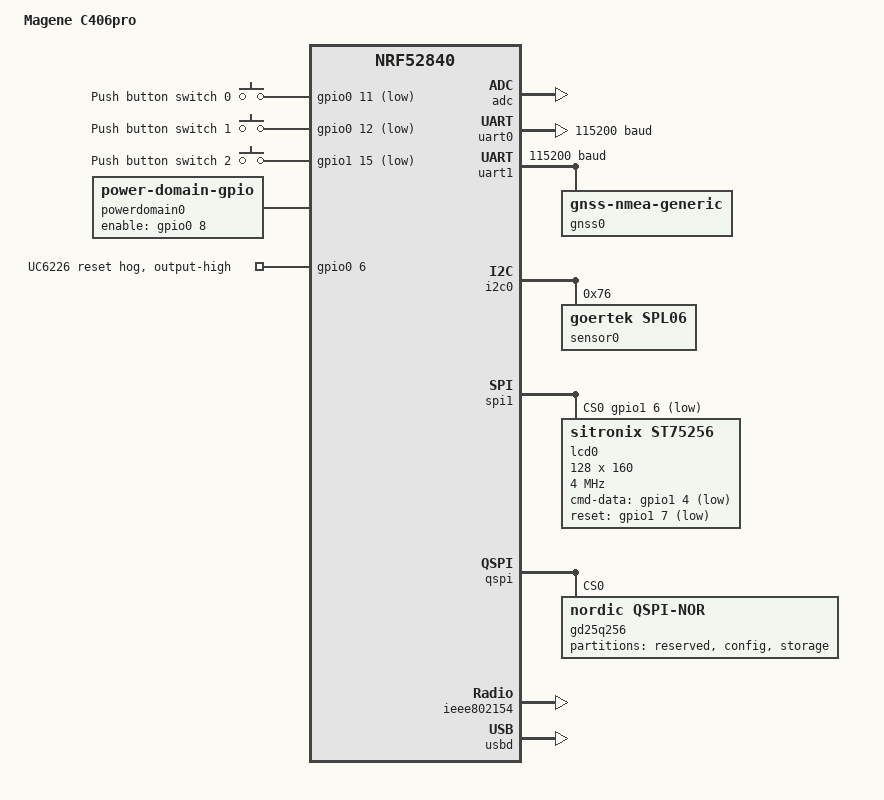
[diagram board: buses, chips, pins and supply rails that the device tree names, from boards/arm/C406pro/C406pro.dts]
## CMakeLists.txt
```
cmake_minimum_required(VERSION 3.20.0)

set(BOARD C406pro)
set(BOARD_ROOT ${CMAKE_CURRENT_SOURCE_DIR})

# Add our custom Zephyr module for drivers, etc.
set(EXTRA_ZEPHYR_MODULES ${CMAKE_CURRENT_SOURCE_DIR}/module)

find_package(Zephyr)
project(C406pro_Hack)

target_include_directories(app PRIVATE
    src
    src/pages
)
target_sources(app PRIVATE
    src/main.c
    src/ble/ble.c
    src/ble/transfer_ble.c
    src/ble/shell_ble.c
    src/pages/pages.cpp
    src/pages/main_page.cpp
    src/pages/info_page.cpp
    src/pages/PageManager.cpp
    src/status_bar.cpp
    src/battery.c
    src/cmd/test_fs.c
    src/cmd/test_flash.c
    src/cmd/gnss.c
    src/button.cpp
    src/button_event.cpp
	src/gnss.c
)
```

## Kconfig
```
mainmenu "Zephyr Kernel Configuration"

source "Kconfig.zephyr"
```

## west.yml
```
manifest:
  remotes:
    - name: zephyrproject-rtos
      url-base: https://github.com/zephyrproject-rtos
  projects:
    - name: zephyr
      remote: zephyrproject-rtos
      revision: v3.7.2
      clone-depth: 1
      import:
        name-blocklist:
          - hal_atmel
          - hal_altera
          - hal_ambiq
          - hal_altera
          - hal_cypress
          - hal_espressif
          - hal_ethos_u
          - hal_gigadevice
          - hal_infineon
          - hal_intel
          - hal_microchip
          - hal_nxp
          - hal_openisa
          - hal_renesas
          - hal_rpi_pico
          - hal_silabs
          - hal_xtensa
          - hal_st
          - hal_ti
          - hal_telink
          - hal_wurthelektronik
          - libmetal
          - loramac-node
          - hal_nuvoton
          - hal_quicklogic
          - hal_stm32
          - trusted-firmware-m
          - trusted-firmware-a
          - picolibc
          - hostap
          - liblc3
          - net-tools
          - mipi-sys-t
  self:
    path: app
```

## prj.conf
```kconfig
# Runtime
CONFIG_CPP=y
CONFIG_MAIN_STACK_SIZE=4096
CONFIG_HEAP_MEM_POOL_SIZE=4096

# Logging and RTT
CONFIG_LOG=y
CONFIG_LOG_BLOCK_IN_THREAD=y
CONFIG_LOG_BUFFER_SIZE=4096
CONFIG_LOG_SPEED=y
CONFIG_LOG_BACKEND_SHOW_COLOR=n
CONFIG_USE_SEGGER_RTT=y
CONFIG_SEGGER_RTT_MODE_BLOCK_IF_FIFO_FULL=y

# Shell
CONFIG_SHELL=y
CONFIG_SHELL_BACKEND_SERIAL=n
CONFIG_SHELL_BACKEND_RTT=n
CONFIG_SHELL_LOG_BACKEND=n
CONFIG_GPIO_SHELL=y
CONFIG_I2C_SHELL=y

# Bluetooth
CONFIG_BT=y
CONFIG_BT_PERIPHERAL=y
CONFIG_BT_DEVICE_NAME="C406Pro_Hack"
CONFIG_BT_MAX_CONN=1
CONFIG_BT_GAP_AUTO_UPDATE_CONN_PARAMS=y
CONFIG_BT_L2CAP_TX_MTU=247
CONFIG_BT_BUF_ACL_RX_SIZE=251
CONFIG_BT_BUF_ACL_TX_SIZE=251
CONFIG_BT_CTLR_DATA_LENGTH_MAX=251
CONFIG_BT_ZEPHYR_NUS=y
CONFIG_BT_SHELL=y

# Storage
CONFIG_FLASH=y
CONFIG_FLASH_MAP=y
CONFIG_FLASH_PAGE_LAYOUT=y
CONFIG_FLASH_SHELL=y
CONFIG_FILE_SYSTEM=y
CONFIG_FILE_SYSTEM_LITTLEFS=y
CONFIG_FILE_SYSTEM_SHELL=y
CONFIG_NORDIC_QSPI_NOR=y
CONFIG_NORDIC_QSPI_NOR_INIT_PRIORITY=80

# Power management
CONFIG_POWEROFF=y
CONFIG_PM_DEVICE=y
# CONFIG_PM_DEVICE_RUNTIME=y
CONFIG_POWER_DOMAIN=y

# Display and UI
CONFIG_ST75256=y
CONFIG_LVGL=y
CONFIG_LV_COLOR_DEPTH_1=y
CONFIG_LV_Z_MEM_POOL_SIZE=8192
CONFIG_LV_USE_MONKEY=y
CONFIG_LV_CONF_MINIMAL=y
CONFIG_LV_USE_LABEL=y
CONFIG_LV_FONT_MONTSERRAT_12=y
CONFIG_LV_FONT_MONTSERRAT_14=y
CONFIG_LV_FONT_MONTSERRAT_16=y
CONFIG_LV_USE_FONT_COMPRESSED=y
CONFIG_LV_USE_CANVAS=y
CONFIG_LV_USE_THEME_MONO=y

# Sensors
CONFIG_ADC=y
CONFIG_SPL06=y

# GNSS
CONFIG_GNSS=y
CONFIG_GNSS_SATELLITES=y
CONFIG_SERIAL=y
CONFIG_UART_INTERRUPT_DRIVEN=y
CONFIG_GPIO_HOGS=y
```

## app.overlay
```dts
//&uart0_default{
//    /delete-node/ group2;
//};

&pinctrl {
	uart0_default: uart0_default {
		/delete-node/ group1;
		/delete-node/ group2;
	};
    uart0_sleep: uart0_sleep {
		/delete-node/ group1;
	};

	i2c1_default: i2c1_default {
		/delete-node/ group1;
	};

	i2c1_sleep: i2c1_sleep {
		/delete-node/ group1;
	};

	pwm0_default: pwm0_default {
		/delete-node/ group1;
	};

	pwm0_sleep: pwm0_sleep {
		/delete-node/ group1;
	};

	spi0_default: spi0_default {
		/delete-node/ group1;
	};

	spi0_sleep: spi0_sleep {
		/delete-node/ group1;
	};

	spi2_default: spi2_default {
		/delete-node/ group1;
	};

	spi2_sleep: spi2_sleep {
		/delete-node/ group1;
	};

	spi3_default: spi3_default {
		/delete-node/ group1;
	};

	spi3_sleep: spi3_sleep {
		/delete-node/ group1;
	};
};

/ {
	zephyr,user {
		io-channels = <&adc 0>;
	};

	fstab {
		compatible = "zephyr,fstab";

		lfs: lfs {
			compatible = "zephyr,fstab,littlefs";
			mount-point = "/lfs";
			partition = <&storage_partition>;
			automount;
			read-size = <16>;
			prog-size = <16>;
			cache-size = <64>;
			lookahead-size = <32>;
			block-cycles = <512>;
		};
	};
};

&adc {
	#address-cells = <1>;
	#size-cells = <0>;

	channel@0 {
		reg = <0>;
		zephyr,gain = "ADC_GAIN_1_3";
		zephyr,reference = "ADC_REF_INTERNAL";
		zephyr,acquisition-time = <ADC_ACQ_TIME_DEFAULT>;
		zephyr,input-positive = <NRF_SAADC_AIN5>; /* P0.29 */
		zephyr,resolution = <14>;
		zephyr,oversampling = <8>;
	};
};
```

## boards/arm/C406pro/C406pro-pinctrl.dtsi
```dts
/*
 * Copyright (c) 2022 Nordic Semiconductor
 * SPDX-License-Identifier: Apache-2.0
 */

&pinctrl {
	uart0_default: uart0_default {
		group1 {
			psels = <NRF_PSEL(UART_TX, 0, 6)>,
				<NRF_PSEL(UART_RTS, 0, 5)>;
		};
		group2 {
			psels = <NRF_PSEL(UART_RX, 0, 8)>,
				<NRF_PSEL(UART_CTS, 0, 7)>;
			bias-pull-up;
		};
	};

	uart0_sleep: uart0_sleep {
		group1 {
			psels = <NRF_PSEL(UART_TX, 0, 6)>,
				<NRF_PSEL(UART_RX, 0, 8)>,
				<NRF_PSEL(UART_RTS, 0, 5)>,
				<NRF_PSEL(UART_CTS, 0, 7)>;
			low-power-enable;
		};
	};

	uart1_default: uart1_default {
		group1 {
			psels = <NRF_PSEL(UART_RX, 1, 13)>;
			bias-pull-up;
		};
		group2 {
			psels = <NRF_PSEL(UART_TX, 1, 11)>;
		};
	};

	uart1_sleep: uart1_sleep {
		group1 {
			psels = <NRF_PSEL(UART_RX, 1, 13)>,
				<NRF_PSEL(UART_TX, 1, 11)>;
			low-power-enable;
		};
	};

	i2c0_default: i2c0_default {
		group1 {
			psels = <NRF_PSEL(TWIM_SDA, 1, 0)>,
				<NRF_PSEL(TWIM_SCL, 0, 25)>;
		};
	};

	i2c0_sleep: i2c0_sleep {
		group1 {
			psels = <NRF_PSEL(TWIM_SDA, 1, 0)>,
				<NRF_PSEL(TWIM_SCL, 0, 25)>;
			low-power-enable;
		};
	};

	i2c1_default: i2c1_default {
		group1 {
			psels = <NRF_PSEL(TWIM_SDA, 0, 30)>,
				<NRF_PSEL(TWIM_SCL, 0, 31)>;
		};
	};

	i2c1_sleep: i2c1_sleep {
		group1 {
			psels = <NRF_PSEL(TWIM_SDA, 0, 30)>,
				<NRF_PSEL(TWIM_SCL, 0, 31)>;
			low-power-enable;
		};
	};

	pwm0_default: pwm0_default {
		group1 {
			psels = <NRF_PSEL(PWM_OUT0, 0, 13)>;
			nordic,invert;
		};
	};

	pwm0_sleep: pwm0_sleep {
		group1 {
			psels = <NRF_PSEL(PWM_OUT0, 0, 13)>;
			low-power-enable;
		};
	};

	spi0_default: spi0_default {
		group1 {
			psels = <NRF_PSEL(SPIM_SCK, 0, 27)>,
				<NRF_PSEL(SPIM_MOSI, 0, 26)>,
				<NRF_PSEL(SPIM_MISO, 0, 29)>;
		};
	};

	spi0_sleep: spi0_sleep {
		group1 {
			psels = <NRF_PSEL(SPIM_SCK, 0, 27)>,
				<NRF_PSEL(SPIM_MOSI, 0, 26)>,
				<NRF_PSEL(SPIM_MISO, 0, 29)>;
			low-power-enable;
		};
	};

	spi1_default: spi1_default {
		group1 {
			psels = <NRF_PSEL(SPIM_SCK, 0, 4)>,
				<NRF_PSEL(SPIM_MOSI, 0, 26)>,
				<NRF_PSEL(SPIM_MISO, 1, 27)>;
		};
	};

	spi1_sleep: spi1_sleep {
		group1 {
			psels = <NRF_PSEL(SPIM_SCK, 0, 31)>,
				<NRF_PSEL(SPIM_MOSI, 0, 30)>,
				<NRF_PSEL(SPIM_MISO, 1, 8)>;
			low-power-enable;
		};
	};

	spi2_default: spi2_default {
		group1 {
			psels = <NRF_PSEL(SPIM_SCK, 0, 19)>,
				<NRF_PSEL(SPIM_MOSI, 0, 20)>,
				<NRF_PSEL(SPIM_MISO, 0, 21)>;
		};
	};

	spi2_sleep: spi2_sleep {
		group1 {
			psels = <NRF_PSEL(SPIM_SCK, 0, 19)>,
				<NRF_PSEL(SPIM_MOSI, 0, 20)>,
				<NRF_PSEL(SPIM_MISO, 0, 21)>;
			low-power-enable;
		};
	};

	qspi_default: qspi_default {
		group1 {
			psels = <NRF_PSEL(QSPI_SCK, 0, 22)>,
				<NRF_PSEL(QSPI_IO0, 0, 24)>,
				<NRF_PSEL(QSPI_IO1, 0, 14)>,
				<NRF_PSEL(QSPI_IO2, 0, 15)>,
				<NRF_PSEL(QSPI_IO3, 0, 20)>,
				<NRF_PSEL(QSPI_CSN, 0, 13)>;
			nordic,drive-mode = <NRF_DRIVE_H0H1>;
		};
	};

	qspi_sleep: qspi_sleep {
		group1 {
			psels = <NRF_PSEL(QSPI_SCK, 0, 22)>,
				<NRF_PSEL(QSPI_IO0, 0, 24)>,
				<NRF_PSEL(QSPI_IO1, 0, 14)>,
				<NRF_PSEL(QSPI_IO2, 0, 15)>,
				<NRF_PSEL(QSPI_IO3, 0, 20)>;
			low-power-enable;
		};
		group2 {
			psels = <NRF_PSEL(QSPI_CSN, 0, 13)>;
			low-power-enable;
			bias-pull-up;
		};
	};

	spi3_default: spi3_default {
		group1 {
			psels = <NRF_PSEL(SPIM_SCK, 1, 15)>,
				<NRF_PSEL(SPIM_MISO, 1, 14)>,
				<NRF_PSEL(SPIM_MOSI, 1, 1)>;
		};
	};

	spi3_sleep: spi3_sleep {
		group1 {
			psels = <NRF_PSEL(SPIM_SCK, 1, 15)>,
				<NRF_PSEL(SPIM_MISO, 1, 14)>,
				<NRF_PSEL(SPIM_MOSI, 1, 1)>;
			low-power-enable;
		};
	};

};
```

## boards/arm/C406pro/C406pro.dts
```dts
/*
 * Copyright (c) 2017 Linaro Limited
 *
 * SPDX-License-Identifier: Apache-2.0
 */

/dts-v1/;
#include <nordic/nrf52840_qiaa.dtsi>
#include "C406pro-pinctrl.dtsi"
#include <zephyr/dt-bindings/input/input-event-codes.h>

/ {
	model = "Magene C406pro";
	compatible = "C406pro";

	chosen {
		zephyr,console = &uart0;
		zephyr,shell-uart = &uart0;
		zephyr,uart-mcumgr = &uart0;
		zephyr,bt-mon-uart = &uart0;
		zephyr,bt-c2h-uart = &uart0;
		zephyr,sram = &sram0;
		zephyr,flash = &flash0;
		zephyr,code-partition = &slot0_partition;
		zephyr,ieee802154 = &ieee802154;
		zephyr,display = &lcd0;
	};

	buttons {
		compatible = "gpio-keys";
		button0: button_0 {
			gpios = <&gpio0 11 (GPIO_PULL_UP | GPIO_ACTIVE_LOW)>;
			label = "Push button switch 0";
			zephyr,code = <INPUT_KEY_0>;
		};
		button1: button_1 {
			gpios = <&gpio0 12 (GPIO_PULL_UP | GPIO_ACTIVE_LOW)>;
			label = "Push button switch 1";
			zephyr,code = <INPUT_KEY_1>;
		};
		button2: button_2 {
			gpios = <&gpio1 15 (GPIO_PULL_UP | GPIO_ACTIVE_LOW)>;
			label = "Push button switch 2";
			zephyr,code = <INPUT_KEY_2>;
		};
	};

	powerdomain0: powerdomain0 {
		compatible = "power-domain-gpio";
		status = "okay";
		enable-gpios = <&gpio0 8 GPIO_ACTIVE_HIGH>;
		startup-delay-us = <10000>;
		off-on-delay-us = <0>;
	};

	/* These aliases are provided for compatibility with samples */
	aliases {
		sw0 = &button0;
		sw1 = &button1;
		sw2 = &button2;
		mcuboot-button0 = &button0;
		watchdog0 = &wdt0;
		spi-flash0 = &gd25q256;
		gnss = &gnss0;
	};
};

&adc {
	status = "okay";
};

&uicr {
	gpio-as-nreset;
};

&gpiote {
	status = "okay";
};

&gpio0 {
	status = "okay";

	gnss-reset-hog {
		gpio-hog;
		gpios = <6 GPIO_ACTIVE_HIGH>;
		output-high;
		line-name = "UC6226 reset";
	};
};

&gpio1 {
	status = "okay";
};

&uart0 {
	compatible = "nordic,nrf-uarte";
	status = "okay";
	current-speed = <115200>;
	pinctrl-0 = <&uart0_default>;
	pinctrl-1 = <&uart0_sleep>;
	pinctrl-names = "default", "sleep";
};

&uart1 {
	compatible = "nordic,nrf-uarte";
	status = "okay";
	current-speed = <115200>;
	pinctrl-0 = <&uart1_default>;
	pinctrl-1 = <&uart1_sleep>;
	pinctrl-names = "default", "sleep";

	gnss0: gnss {
		compatible = "gnss-nmea-generic";
		status = "okay";
		power-domain = <&powerdomain0>;
	};
};

&i2c0 {
	compatible = "nordic,nrf-twi";
	status = "okay";
	pinctrl-0 = <&i2c0_default>;
	pinctrl-1 = <&i2c0_sleep>;
	pinctrl-names = "default", "sleep";

	sensor0:sensor@76 {
		compatible = "goertek,spl06";
		reg = <0x76>;
		status = "okay";
		prs_cfg = [26];
		tmp_cfg = [a2];
		cfg_reg = [04];
		meas_cfg = [07];
		power-domain = <&powerdomain0>;
	};
};


// &i2c1 {
// 	compatible = "nordic,nrf-twi";
// 	/* Cannot be used together with spi1. */
// 	/* status = "okay"; */
// 	pinctrl-0 = <&i2c1_default>;
// 	pinctrl-1 = <&i2c1_sleep>;
// 	pinctrl-names = "default", "sleep";
// };

// &pwm0 {
// 	status = "okay";
// 	pinctrl-0 = <&pwm0_default>;
// 	pinctrl-1 = <&pwm0_sleep>;
// 	pinctrl-names = "default", "sleep";
// };

// &spi0 {
// 	compatible = "nordic,nrf-spi";
// 	/* Cannot be used together with i2c0. */
// 	/* status = "okay"; */
// 	pinctrl-0 = <&spi0_default>;
// 	pinctrl-1 = <&spi0_sleep>;
// 	pinctrl-names = "default", "sleep";
// };

&spi1 {
	compatible = "nordic,nrf-spi";
	status = "okay";
	pinctrl-0 = <&spi1_default>;
	pinctrl-1 = <&spi1_sleep>;
	pinctrl-names = "default", "sleep";
	cs-gpios = <&gpio1 6 GPIO_ACTIVE_LOW>;

	lcd0: lcd@0 {
		compatible = "sitronix,st75256";
		reg = <0>;
		status = "okay";
		spi-max-frequency = <4000000>;
		cmd-data-gpios = <&gpio1 4 GPIO_ACTIVE_LOW>;
		reset-gpios = <&gpio1 7 GPIO_ACTIVE_LOW>;
		width = <128>;
		height = <160>;
		auto_read = [9f];
		analog_circuit = [00 01 00];
		gray_level = [01 03 05 07 09 0b 0d 10 11 13 15 17 19 1b 1d 1f];
		data_scan = [00];
		display_control = [00 9f 20];
		color_mode = [10];
		volume_control = [18 05];
		power_control = [0b];
		row_range = [00 7f];
		col_range = [00 13];
		power-domain = <&powerdomain0>;
	};
};

// &spi2 {
// 	compatible = "nordic,nrf-spi";
// 	status = "disabled";
// 	pinctrl-0 = <&spi2_default>;
// 	pinctrl-1 = <&spi2_sleep>;
// 	pinctrl-names = "default", "sleep";
// };


&qspi {
	status = "okay";
	pinctrl-0 = <&qspi_default>;
	pinctrl-1 = <&qspi_sleep>;
	pinctrl-names = "default", "sleep";
	gd25q256: gd25q256@0 {
		compatible = "nordic,qspi-nor";
		reg = <0>;
		power-domain = <&powerdomain0>;

		jedec-id = [c8 40 19];
		size = <268435456>;

		sck-frequency = <32000000>;

		writeoc = "pp4o";
		readoc = "read4io";

		address-size-32;
		enter-4byte-addr = <0x01>;

		quad-enable-requirements = "S2B1v1";

		// has-dpd;
		// t-enter-dpd = <10000>;
		// t-exit-dpd = <35000>;

		partitions {
			compatible = "fixed-partitions";
			#address-cells = <1>;
			#size-cells = <1>;

			reserved_partition: partition@0 {
				label = "reserved";
				reg = <0x00000000 0x00010000>; /* 64KB */
			};

			config_partition: partition@10000 {
				label = "config";
				reg = <0x00010000 0x000F0000>; /* 960KB */
			};

			storage_partition: partition@100000 {
				label = "storage";
				reg = <0x00100000 0x01F00000>; /* 31MB */
			};
		};
	};
};


&ieee802154 {
	status = "okay";
};

&flash0 {

	partitions {
		compatible = "fixed-partitions";
		#address-cells = <1>;
		#size-cells = <1>;

		boot_partition: partition@0 {
			label = "mcuboot";
			reg = <0x00000000 0x0000C000>;
		};
		slot0_partition: partition@c000 {
			label = "image-0";
			reg = <0x0000C000 0x00076000>;
		};
		slot1_partition: partition@82000 {
			label = "image-1";
			reg = <0x00082000 0x00076000>;
		};

		/*
		 * The flash starting at 0x000f8000 and ending at
		 * 0x000fffff is reserved for use by the application.
		 */

		/*
		 * Storage partition will be used by FCB/LittleFS/NVS
		 * if enabled.
		 */
		internal_storage_partition: partition@f8000 {
			label = "internal_storage";
			reg = <0x000f8000 0x00008000>;
		};
	};
};

zephyr_udc0: &usbd {
	compatible = "nordic,nrf-usbd";
	status = "okay";
};
```

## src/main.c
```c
#include <zephyr/kernel.h>
#include <zephyr/drivers/gpio.h>
#include <zephyr/logging/log.h>
#include <zephyr/drivers/adc.h>
#include <zephyr/devicetree.h>
#include <zephyr/device.h>
#include <zephyr/sys/util.h>
#include <zephyr/drivers/display.h>
#include <zephyr/pm/device.h>
#include <zephyr/sys/poweroff.h>
#include <lvgl.h>
#include <zephyr/drivers/sensor.h>

#include "pages.h"
#include "battery.h"
#include "button.h"
#include "ble/ble.h"
#include "gnss.h"

#include <inttypes.h>
#include <stddef.h>
#include <stdint.h>

LOG_MODULE_REGISTER(main, LOG_LEVEL_INF);

const struct device *gpio_0;
const struct device *gpio_1;
const struct device *display_dev;
const struct device *ext_power;
const struct device *pressure_dev;


int main()
{
	LOG_INF("GPIO TEST!!!!!!!");

    gpio_0 = device_get_binding("gpio@50000000");
	gpio_1 = device_get_binding("gpio@50000300");
	ext_power = DEVICE_DT_GET(DT_NODELABEL(powerdomain0));
	display_dev = DEVICE_DT_GET(DT_CHOSEN(zephyr_display));
	pressure_dev = DEVICE_DT_GET(DT_NODELABEL(sensor0));
	
	gpio_pin_configure(gpio_0, 29, GPIO_INPUT);
	gpio_pin_configure(gpio_0, 31, GPIO_INPUT);
	gpio_pin_configure(gpio_1, 10, GPIO_OUTPUT_INACTIVE);
	gpio_pin_configure(gpio_0, 9, GPIO_OUTPUT_INACTIVE);

	battery_sensor_init();
	ButtonEvent_Init();
	ui_init();
	ble_start();
	k_msleep(200);
	gnss_init();
	

	while (1) {
		k_msleep(100);
	}

	return 0;
}
```

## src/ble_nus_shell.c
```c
#include <errno.h>
#include <stddef.h>
#include <stdint.h>
#include <string.h>

#include <zephyr/bluetooth/bluetooth.h>
#include <zephyr/bluetooth/conn.h>
#include <zephyr/bluetooth/gatt.h>
#include <zephyr/init.h>
#include <zephyr/kernel.h>
#include <zephyr/logging/log.h>
#include <zephyr/shell/shell.h>
#include <zephyr/sys/ring_buffer.h>
#include <zephyr/sys/util.h>

LOG_MODULE_REGISTER(ble_nus_shell, LOG_LEVEL_INF);

#define BLE_NUS_SHELL_PROMPT "c406pro> "
#define BLE_NUS_SHELL_RX_RING_BUFFER_SIZE 256
#define BLE_NUS_SHELL_LOG_QUEUE_SIZE 512
#define BLE_NUS_SHELL_LOG_QUEUE_TIMEOUT 100

#define BT_UUID_NUS_VAL \
	BT_UUID_128_ENCODE(0x6e400001, 0xb5a3, 0xf393, 0xe0a9, 0xe50e24dcca9e)
#define BT_UUID_NUS_RX_VAL \
	BT_UUID_128_ENCODE(0x6e400002, 0xb5a3, 0xf393, 0xe0a9, 0xe50e24dcca9e)
#define BT_UUID_NUS_TX_VAL \
	BT_UUID_128_ENCODE(0x6e400003, 0xb5a3, 0xf393, 0xe0a9, 0xe50e24dcca9e)

static struct bt_uuid_128 nus_uuid = BT_UUID_INIT_128(BT_UUID_NUS_VAL);
static struct bt_uuid_128 nus_rx_uuid = BT_UUID_INIT_128(BT_UUID_NUS_RX_VAL);
static struct bt_uuid_128 nus_tx_uuid = BT_UUID_INIT_128(BT_UUID_NUS_TX_VAL);

struct bt_nus_shell_transport {
	shell_transport_handler_t handler;
	void *context;
	struct ring_buf rx_ringbuf;
	uint8_t rx_buf[BLE_NUS_SHELL_RX_RING_BUFFER_SIZE];
	struct k_mutex tx_lock;
	bool initialized;
	bool blocking_tx;
};

static struct bt_conn *active_conn;
static bool notify_enabled;
static struct bt_nus_shell_transport transport_ctx;
static const uint8_t ad_flags[] = {
	BT_LE_AD_GENERAL | BT_LE_AD_NO_BREDR,
};

static ssize_t nus_rx_write(struct bt_conn *conn, const struct bt_gatt_attr *attr,
			    const void *buf, uint16_t len, uint16_t offset,
			    uint8_t flags);
static void nus_tx_ccc_changed(const struct bt_gatt_attr *attr, uint16_t value);

BT_GATT_SERVICE_DEFINE(nus_svc,
	BT_GATT_PRIMARY_SERVICE(&nus_uuid),
	BT_GATT_CHARACTERISTIC(&nus_rx_uuid.uuid,
			       BT_GATT_CHRC_WRITE | BT_GATT_CHRC_WRITE_WITHOUT_RESP,
			       BT_GATT_PERM_WRITE, NULL, nus_rx_write, NULL),
	BT_GATT_CHARACTERISTIC(&nus_tx_uuid.uuid, BT_GATT_CHRC_NOTIFY,
			       BT_GATT_PERM_NONE, NULL, NULL, NULL),
	BT_GATT_CCC(nus_tx_ccc_changed, BT_GATT_PERM_READ | BT_GATT_PERM_WRITE));

static void connected(struct bt_conn *conn, uint8_t err)
{
	if (err) {
		LOG_WRN("Bluetooth connection failed: %u", err);
		return;
	}

	if (!active_conn) {
		active_conn = bt_conn_ref(conn);
	}

	LOG_INF("Bluetooth connected");
}

static void disconnected(struct bt_conn *conn, uint8_t reason)
{
	if (active_conn) {
		bt_conn_unref(active_conn);
		active_conn = NULL;
	}

	notify_enabled = false;
	LOG_INF("Bluetooth disconnected: %u", reason);
}

BT_CONN_CB_DEFINE(conn_callbacks) = {
	.connected = connected,
	.disconnected = disconnected,
};

static void nus_tx_ccc_changed(const struct bt_gatt_attr *attr, uint16_t value)
{
	notify_enabled = (value == BT_GATT_CCC_NOTIFY);
}

static ssize_t nus_rx_write(struct bt_conn *conn, const struct bt_gatt_attr *attr,
			    const void *buf, uint16_t len, uint16_t offset,
			    uint8_t flags)
{
	uint32_t written;

	ARG_UNUSED(conn);
	ARG_UNUSED(attr);
	ARG_UNUSED(flags);

	if (offset != 0) {
		return BT_GATT_ERR(BT_ATT_ERR_INVALID_OFFSET);
	}

	written = ring_buf_put(&transport_ctx.rx_ringbuf, buf, len);
	if (written != len) {
		LOG_WRN("BLE NUS shell RX ring buffer full");
	}

	if (written && transport_ctx.handler) {
		transport_ctx.handler(SHELL_TRANSPORT_EVT_RX_RDY, transport_ctx.context);
	}

	return len;
}

static int transport_init(const struct shell_transport *transport,
			  const void *config,
			  shell_transport_handler_t evt_handler,
			  void *context)
{
	struct bt_nus_shell_transport *bt_nus = transport->ctx;

	ARG_UNUSED(config);

	if (bt_nus->initialized) {
		return -EINVAL;
	}

	bt_nus->handler = evt_handler;
	bt_nus->context = context;
	ring_buf_init(&bt_nus->rx_ringbuf, sizeof(bt_nus->rx_buf), bt_nus->rx_buf);
	k_mutex_init(&bt_nus->tx_lock);
	bt_nus->initialized = true;

	return 0;
}

static int transport_uninit(const struct shell_transport *transport)
{
	struct bt_nus_shell_transport *bt_nus = transport->ctx;

	if (!bt_nus->initialized) {
		return -ENODEV;
	}

	bt_nus->initialized = false;
	return 0;
}

static int transport_enable(const struct shell_transport *transport, bool blocking_tx)
{
	struct bt_nus_shell_transport *bt_nus = transport->ctx;

	if (!bt_nus->initialized) {
		return -ENODEV;
	}

	bt_nus->blocking_tx = blocking_tx;
	return 0;
}

static int transport_write(const struct shell_transport *transport,
			   const void *data, size_t length, size_t *cnt)
{
	struct bt_nus_shell_transport *bt_nus = transport->ctx;
	const uint8_t *bytes = data;
	size_t mtu_payload;
	size_t sent = 0;
	int err = 0;

	if (!bt_nus->initialized) {
		*cnt = 0;
		return -ENODEV;
	}

	if (!active_conn || !notify_enabled) {
		*cnt = length;
		return 0;
	}

	k_mutex_lock(&bt_nus->tx_lock, K_FOREVER);

	mtu_payload = MAX(1, bt_gatt_get_mtu(active_conn) - 3);

	while (sent < length) {
		size_t chunk = MIN(length - sent, mtu_payload);

		err = bt_gatt_notify(active_conn, &nus_svc.attrs[4],
				     &bytes[sent], chunk);
		if (err) {
			break;
		}

		sent += chunk;
	}

	k_mutex_unlock(&bt_nus->tx_lock);

	*cnt = sent;

	if (bt_nus->handler) {
		bt_nus->handler(SHELL_TRANSPORT_EVT_TX_RDY, bt_nus->context);
	}

	return err;
}

static int transport_read(const struct shell_transport *transport,
			  void *data, size_t length, size_t *cnt)
{
	struct bt_nus_shell_transport *bt_nus = transport->ctx;

	if (!bt_nus->initialized) {
		*cnt = 0;
		return -ENODEV;
	}

	*cnt = ring_buf_get(&bt_nus->rx_ringbuf, data, length);
	return 0;
}

static const struct shell_transport_api bt_nus_shell_transport_api = {
	.init = transport_init,
	.uninit = transport_uninit,
	.enable = transport_enable,
	.write = transport_write,
	.read = transport_read,
};

static const struct shell_transport shell_transport_bt_nus = {
	.api = &bt_nus_shell_transport_api,
	.ctx = &transport_ctx,
};

SHELL_DEFINE(shell_bt_nus, BLE_NUS_SHELL_PROMPT, &shell_transport_bt_nus,
	     BLE_NUS_SHELL_LOG_QUEUE_SIZE,
	     BLE_NUS_SHELL_LOG_QUEUE_TIMEOUT,
	     SHELL_FLAG_OLF_CRLF);

static int enable_shell_bt_nus(void)
{
	struct shell_backend_config_flags cfg_flags =
		SHELL_DEFAULT_BACKEND_CONFIG_FLAGS;

	shell_init(&shell_bt_nus, NULL, cfg_flags, false, 0);
	return 0;
}

SYS_INIT(enable_shell_bt_nus, POST_KERNEL, 0);

int ble_nus_shell_start(void)
{
	static const struct bt_data ad[] = {
		BT_DATA(BT_DATA_FLAGS, ad_flags, sizeof(ad_flags)),
		BT_DATA(BT_DATA_NAME_COMPLETE, CONFIG_BT_DEVICE_NAME,
			sizeof(CONFIG_BT_DEVICE_NAME) - 1),
	};
	int err;

	err = bt_enable(NULL);
	if (err) {
		LOG_ERR("Bluetooth init failed: %d", err);
		return err;
	}

	err = bt_le_adv_start(BT_LE_ADV_CONN, ad, ARRAY_SIZE(ad), NULL, 0);
	if (err) {
		LOG_ERR("Bluetooth advertising failed: %d", err);
		return err;
	}

	LOG_INF("BLE NUS shell started");
	return 0;
}
```

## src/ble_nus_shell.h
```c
#ifndef BLE_NUS_SHELL_H_
#define BLE_NUS_SHELL_H_

int ble_nus_shell_start(void);

#endif /* BLE_NUS_SHELL_H_ */
```

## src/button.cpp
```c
#include "button_event.h"
#include <zephyr/kernel.h>
#include <zephyr/drivers/gpio.h>
#include <zephyr/logging/log.h>
#include <zephyr/drivers/adc.h>
#include <zephyr/devicetree.h>
#include <zephyr/device.h>
#include <zephyr/pm/device.h>
#include <zephyr/sys/poweroff.h>

#include "ble/ble.h"
#include "pages.h"

LOG_MODULE_REGISTER(button, LOG_LEVEL_INF);

#define BTN_STACK_SIZE 512
#define BTN_PRIORITY 4
K_THREAD_STACK_DEFINE(btn_stack_area, BTN_STACK_SIZE);
struct k_thread btn_thread_data;
k_tid_t btn_tid;

const struct gpio_dt_spec dev_btn0 = GPIO_DT_SPEC_GET(DT_NODELABEL(button0), gpios);
const struct gpio_dt_spec dev_btn1 = GPIO_DT_SPEC_GET(DT_NODELABEL(button1), gpios);
const struct gpio_dt_spec dev_btn2 = GPIO_DT_SPEC_GET(DT_NODELABEL(button2), gpios);
extern struct device* ext_power;
extern struct device* display_dev;
extern struct device* pressure_dev;
extern struct device *gpio_0;
extern struct device *gpio_1;

class ButtonEvent btn0;
class ButtonEvent btn1;
class ButtonEvent btn2;

static void btn0_EventHandler(ButtonEvent* btn, int event)
{
    if(event == ButtonEvent::EVENT_ButtonLongPressed)
    {
        LOG_INF("btn0 longpressed");
        gpio_pin_interrupt_configure_dt(&dev_btn0,  GPIO_INT_LEVEL_ACTIVE);
        pm_device_action_run(display_dev, PM_DEVICE_ACTION_SUSPEND);
        pm_device_action_run(pressure_dev, PM_DEVICE_ACTION_SUSPEND);
        pm_device_action_run(ext_power, PM_DEVICE_ACTION_SUSPEND);
        for(int i = 0; i < 32; i++)
	    {
	    	if(i==dev_btn0.pin)
	    	{
	    		continue;
	    	}		
	    	gpio_pin_configure(gpio_0, i, GPIO_DISCONNECTED);
	    	gpio_pin_set(gpio_0, i, 0);
	    }
	    for(int i = 0; i < 16; i++)
	    {
	    	gpio_pin_configure(gpio_1, i, GPIO_DISCONNECTED);
	    	gpio_pin_set(gpio_1, i, 0);
	    }
        sys_poweroff();
    }
    else if(event == ButtonEvent::EVENT_ButtonClick)
        LOG_INF("btn0 press");
        
}
static void btn1_EventHandler(ButtonEvent* btn, int event)
{
    if(event == ButtonEvent::EVENT_ButtonClick)
    {
        LOG_INF("btn1 press");
        page.PageChangeTo(page.NowPage+1 == PAGE_MAX ? PAGE_NONE+1 : page.NowPage+1);
    }
}
static void btn2_EventHandler(ButtonEvent* btn, int event)
{
    int ret;
    if(event == ButtonEvent::EVENT_ButtonDoubleClick)
    {
        bool enabled = !ble_advertising_is_enabled();

        ret = ble_advertising_set_enabled(enabled);
        if(ret)
            LOG_ERR("Bluetooth advertising toggle failed: %d", ret);
        else
            LOG_INF("Bluetooth advertising %s", enabled ? "enabled" : "disabled");
    }
    if(event == ButtonEvent::EVENT_ButtonLongPressed)
    {
        LOG_INF("btn2 longpressed");
        ret = gpio_pin_toggle(gpio_1, 10);
        LOG_INF("%d", ret);
    }
}

void Button_Update()
{
    btn0.EventMonitor(gpio_pin_get(dev_btn0.port, dev_btn0.pin));
    btn1.EventMonitor(gpio_pin_get(dev_btn1.port, dev_btn1.pin));
    btn2.EventMonitor(gpio_pin_get(dev_btn2.port, dev_btn2.pin));
}
void ButtonEventTask(void *, void *, void *)
{
    for(;;)
    {
        Button_Update();
        k_msleep(10);
    }
}

extern "C" void ButtonEvent_Init(void)
{
    gpio_pin_configure_dt(&dev_btn0, GPIO_INPUT);
    gpio_pin_configure_dt(&dev_btn1, GPIO_INPUT);
    gpio_pin_configure_dt(&dev_btn2, GPIO_INPUT);
    btn0.EventAttach(btn0_EventHandler);
    btn1.EventAttach(btn1_EventHandler);
    btn2.EventAttach(btn2_EventHandler);
    btn_tid = k_thread_create(  &btn_thread_data,
                                btn_stack_area,
                                K_THREAD_STACK_SIZEOF(btn_stack_area),
                                ButtonEventTask,
                                NULL, NULL, NULL,
                                BTN_PRIORITY, 0, K_NO_WAIT);
    k_thread_name_set(btn_tid, "button");
}
```

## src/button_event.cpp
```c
#include "button_event.h"
#include <zephyr/kernel.h>


#define ButtonEvent_Millis k_uptime_get_32()

/**
  * @brief  按键事件构造函数
  * @param  NoPressState: 按键未按下时的状态
  * @param  LongPressTimeMs_Set: 按键长按触发超时设置
  * @param  LongPressTimeRepeatMs_Set: 长按重复触发时间
  * @retval 无
  */
ButtonEvent::ButtonEvent(
        bool NoPressState, 
        uint16_t LongPressTimeMs_Set, 
        uint16_t LongPressTimeRepeatMs_Set
)
{
    Button_NoPressState = NoPressState;
    LongPressTimeMs = LongPressTimeMs_Set;
    LongPressTimeRepeatMs = LongPressTimeRepeatMs_Set;
    
    LastLongPress_TimePoint = LastClick_TimePoint = LastPress_TimePoint = 0;
    IS_LongPressed = IS_Pressed = false;

    CallbackFunc = 0;
}

/**
  * @brief  按键事件绑定
  * @param  Function: 回调函数指针
  * @retval 无
  */
void ButtonEvent::EventAttach(ButtonEvent_FuncCallBack_t function)
{
    CallbackFunc = function;
}

/**
  * @brief  监控事件，建议扫描周期10ms
  * @param  NowState: 当前按键引脚状态
  * @retval 无
  */
void ButtonEvent::EventMonitor(uint8_t NowState)
{
    if(!CallbackFunc)
        return;
    
    if (!IS_Pressed && (NowState != Button_NoPressState))
    {
        IsPressed = IS_Pressed = true;
        Button_NowState = Press;
        LastPress_TimePoint = ButtonEvent_Millis;

        CallbackFunc(this, EVENT_ButtonPress);
        CallbackFunc(this, EVENT_ButtonChange);
    }
    else if (IS_Pressed && ButtonEvent_Millis - LastPress_TimePoint >= LongPressTimeMs && (NowState != Button_NoPressState))
    {
        Button_NowState = LongPress;
        if(!IS_LongPressed)
        {
            CallbackFunc(this, EVENT_ButtonLongPressed);
            LastLongPress_TimePoint = ButtonEvent_Millis;
            IsLongPressed = IS_LongPressed = true;
        }
        else if(ButtonEvent_Millis - LastLongPress_TimePoint >= LongPressTimeRepeatMs)
        {
            LastLongPress_TimePoint = ButtonEvent_Millis;
            CallbackFunc(this, EVENT_ButtonLongPressRepeat);
        }
    }
    else if (IS_Pressed && (NowState == Button_NoPressState))
    {
        IS_LongPressed = IS_Pressed = false;
        IsClicked = true;
        Button_NowState = NoPress;
        LastClick_TimePoint = ButtonEvent_Millis;

        if(ButtonEvent_Millis - LastPress_TimePoint < LongPressTimeMs)
        {
            CallbackFunc(this, EVENT_ButtonClick);
        }
        CallbackFunc(this, EVENT_ButtonRelease);
        CallbackFunc(this, EVENT_ButtonChange);
        IS_DoubleClick=false;
    }

    if(IS_Pressed && ButtonEvent_Millis - LastClick_TimePoint < 200)
    {
        // Click_Cnt++;
        if(!IS_DoubleClick)
        {
            IS_DoubleClick=true;
            CallbackFunc(this, EVENT_ButtonDoubleClick);
        }
        
    }
}
```

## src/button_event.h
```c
/**
  ******************************************************************************
  * @file    ButtonEvent.h
  * @author  FASTSHIFT
  * @version V1.3.0
  * @date    2018-12-23
  * @brief   非阻塞式按键事件驱动库，支持短摁、长摁、释放、状态改变事件的识别。
  * @Upgrade 2019.6.18  添加按键双击事件、长按单次触发事件。
  * @Upgrade 2019.8.26  添加GetClicked、GetPressed、GetLongPressed非事件模式支持。
  * @Upgrade 2019.12.4  使用了新的事件回调设计，所有事件统一用EventAttach。
                        添加Click、LongPressed、LongPressRepeat事件。
  * @Upgrade 2020.6.12  合并ButtonEvent_Type至ButtonEvent类
  ******************************************************************************
  * @attention
  * 需要提供一个精确到毫秒级的系统时钟，用户需要在ButtonEvent.cpp里定义ButtonEvent_Millis
  ******************************************************************************
  */

/* Define to prevent recursive inclusion -------------------------------------*/
#ifndef __BUTTONEVENT_H
#define __BUTTONEVENT_H

#include "stdint.h"

class ButtonEvent
{
    typedef void(*ButtonEvent_FuncCallBack_t)(ButtonEvent*, int);
public:
    ButtonEvent(
        bool NoPressState = 0,
        uint16_t LongPressTimeMs_Set = 500,
        uint16_t LongPressTimeRepeatMs_Set = 200
    );

    enum Event_Type
    {
        EVENT_ButtonNone,
        EVENT_ButtonPress,
        EVENT_ButtonLongPressed,
        EVENT_ButtonLongPressRepeat,
        EVENT_ButtonRelease,
        EVENT_ButtonChange,
        EVENT_ButtonClick,
        EVENT_ButtonDoubleClick,
    };

    bool IsPressed;
    bool IsClicked;
    bool IsLongPressed;

    void EventAttach(ButtonEvent_FuncCallBack_t function);
    void EventMonitor(uint8_t NowState);

    // inline uint8_t GetClickCnt()
    // {
    //     uint8_t cnt = Click_Cnt + 1;
    //     Click_Cnt = 0;
    //     return cnt;
    // }
    inline bool GetClicked()
    {
        bool n = IsClicked;
        IsClicked = false;
        return n;
    }
    inline bool GetPressed()
    {
        bool n = IsPressed;
        IsPressed = false;
        return n;
    }
    inline bool GetLongPressed()
    {
        bool n = IsLongPressed;
        IsLongPressed = false;
        return n;
    }

    operator uint8_t()
    {
        return Button_NowState;
    };

private:
    enum ButtonState
    {
        NoPress,
        Press,
        LongPress
    };
    bool Button_NoPressState;
    uint8_t Button_NowState;
    uint16_t LongPressTimeMs;
    uint16_t LongPressTimeRepeatMs;
    uint32_t LastLongPress_TimePoint;
    uint32_t LastPress_TimePoint;
    uint32_t LastClick_TimePoint;
    // uint8_t Click_Cnt;
    bool IS_Pressed;
    bool IS_LongPressed;
    bool IS_DoubleClick;

    ButtonEvent_FuncCallBack_t CallbackFunc;
};

#endif
```

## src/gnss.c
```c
#include "gnss.h"

#include <errno.h>
#include <string.h>

#include <zephyr/device.h>
#include <zephyr/drivers/gnss.h>
#include <zephyr/kernel.h>
#include <zephyr/logging/log.h>
#include <zephyr/pm/device.h>
#include <zephyr/sys/util.h>

LOG_MODULE_REGISTER(gnss, LOG_LEVEL_INF);

#define GNSS_DEVICE DEVICE_DT_GET(DT_ALIAS(gnss))

static struct gnss_data latest_data;
static struct gnss_satellite satellite_buffers[2][GNSS_SATELLITE_CACHE_SIZE];
static size_t satellite_counts[2];
static uint8_t building_buffer;
static uint8_t complete_buffer;
static enum gnss_system first_system;
static bool building_started;
static bool complete_buffer_valid;
static bool data_valid;
static struct k_spinlock data_lock;

static void gnss_data_cb(const struct device *dev, const struct gnss_data *data)
{
    k_spinlock_key_t key;

    ARG_UNUSED(dev);

    key = k_spin_lock(&data_lock);
    latest_data = *data;
    data_valid = true;
    k_spin_unlock(&data_lock, key);
}

GNSS_DATA_CALLBACK_DEFINE(GNSS_DEVICE, gnss_data_cb);

static void gnss_satellites_cb(const struct device *dev, const struct gnss_satellite *satellites, uint16_t size)
{
    k_spinlock_key_t key;
    size_t count;

    ARG_UNUSED(dev);

    if (size == 0U)
    {
        return;
    }

    key = k_spin_lock(&data_lock);

    if (building_started && satellites[0].system == first_system)
    {
        complete_buffer = building_buffer;
        complete_buffer_valid = true;

        building_buffer ^= 1U;
        satellite_counts[building_buffer] = 0U;
        building_started = false;
    }

    if (!building_started)
    {
        first_system = satellites[0].system;
        building_started = true;
    }

    count = MIN((size_t)size, ARRAY_SIZE(satellite_buffers[building_buffer]) - satellite_counts[building_buffer]);
    memcpy(&satellite_buffers[building_buffer][satellite_counts[building_buffer]], satellites,
           count * sizeof(*satellites));

    satellite_counts[building_buffer] += count;
    k_spin_unlock(&data_lock, key);
}

GNSS_SATELLITES_CALLBACK_DEFINE(GNSS_DEVICE, gnss_satellites_cb);

void gnss_init(void)
{
    int ret;

    if (!device_is_ready(GNSS_DEVICE))
    {
        LOG_ERR("GNSS device not ready");
        return;
    }

    ret = pm_device_action_run(GNSS_DEVICE, PM_DEVICE_ACTION_RESUME);
    if (ret < 0 && ret != -EALREADY)
    {
        LOG_ERR("Failed to start GNSS device: %d", ret);
        return;
    }

    LOG_INF("GNSS device started");
}

bool gnss_get_info(struct gnss_data *data)
{
    bool valid;
    k_spinlock_key_t key;

    if (data == NULL)
    {
        return false;
    }

    key = k_spin_lock(&data_lock);
    *data = latest_data;
    valid = data_valid;
    k_spin_unlock(&data_lock, key);

    return valid;
}

size_t gnss_get_satellites(struct gnss_satellite *satellites, size_t capacity)
{
    size_t count;
    k_spinlock_key_t key;

    if (satellites == NULL || capacity == 0U)
    {
        return 0U;
    }

    key = k_spin_lock(&data_lock);
    if (!complete_buffer_valid)
    {
        count = 0U;
    }
    else
    {
        count = MIN(capacity, satellite_counts[complete_buffer]);
        memcpy(satellites, satellite_buffers[complete_buffer], count * sizeof(*satellites));
    }
    k_spin_unlock(&data_lock, key);

    return count;
}
```

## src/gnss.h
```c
#ifndef GNSS_H
#define GNSS_H

#include <stdbool.h>
#include <stddef.h>

#include <zephyr/drivers/gnss.h>

#ifdef __cplusplus
extern "C" {
#endif

#define GNSS_SATELLITE_CACHE_SIZE 48U

void gnss_init(void);
bool gnss_get_info(struct gnss_data *data);
size_t gnss_get_satellites(struct gnss_satellite *satellites, size_t capacity);

#ifdef __cplusplus
}
#endif

#endif /* GNSS_H */
```

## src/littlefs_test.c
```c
#include "littlefs_test.h"

#include <errno.h>
#include <string.h>

#include <zephyr/fs/fs.h>
#include <zephyr/fs/littlefs.h>
#include <zephyr/logging/log.h>
#include <zephyr/storage/flash_map.h>

LOG_MODULE_REGISTER(littlefs_test, LOG_LEVEL_INF);

#define LITTLEFS_PARTITION littlefs_partition
#define LITTLEFS_PARTITION_ID FIXED_PARTITION_ID(LITTLEFS_PARTITION)
#define LITTLEFS_MOUNT_POINT "/lfs"
#define LITTLEFS_TEST_FILE LITTLEFS_MOUNT_POINT "/qspi.txt"

FS_LITTLEFS_DECLARE_DEFAULT_CONFIG(littlefs_storage);

static struct fs_mount_t littlefs_mnt = {
	.type = FS_LITTLEFS,
	.fs_data = &littlefs_storage,
	.storage_dev = (void *)LITTLEFS_PARTITION_ID,
	.mnt_point = LITTLEFS_MOUNT_POINT,
};

static int write_test_file(void)
{
	struct fs_file_t file;
	const char test_data[] = "C406pro littlefs qspi test";
	ssize_t written;
	int ret;

	fs_file_t_init(&file);

	ret = fs_unlink(LITTLEFS_TEST_FILE);
	if (ret != 0 && ret != -ENOENT) {
		LOG_ERR("unlink %s failed: %d", LITTLEFS_TEST_FILE, ret);
		return ret;
	}

	ret = fs_open(&file, LITTLEFS_TEST_FILE, FS_O_CREATE | FS_O_WRITE);
	if (ret != 0) {
		LOG_ERR("open %s for write failed: %d", LITTLEFS_TEST_FILE, ret);
		return ret;
	}

	written = fs_write(&file, test_data, sizeof(test_data));
	if (written < 0) {
		LOG_ERR("write %s failed: %d", LITTLEFS_TEST_FILE, (int)written);
		ret = (int)written;
	} else if (written != sizeof(test_data)) {
		LOG_ERR("short write %s: %d/%u", LITTLEFS_TEST_FILE,
			(int)written, (uint32_t)sizeof(test_data));
		ret = -EIO;
	} else {
		ret = fs_sync(&file);
		if (ret != 0) {
			LOG_ERR("sync %s failed: %d", LITTLEFS_TEST_FILE, ret);
		}
	}

	(void)fs_close(&file);
	return ret;
}

static int read_test_file(void)
{
	struct fs_file_t file;
	const char test_data[] = "C406pro littlefs qspi test";
	char read_buf[sizeof(test_data)];
	ssize_t bytes_read;
	int ret;

	fs_file_t_init(&file);

	ret = fs_open(&file, LITTLEFS_TEST_FILE, FS_O_READ);
	if (ret != 0) {
		LOG_ERR("open %s for read failed: %d", LITTLEFS_TEST_FILE, ret);
		return ret;
	}

	memset(read_buf, 0, sizeof(read_buf));
	bytes_read = fs_read(&file, read_buf, sizeof(read_buf));
	if (bytes_read < 0) {
		LOG_ERR("read %s failed: %d", LITTLEFS_TEST_FILE, (int)bytes_read);
		ret = (int)bytes_read;
	} else if (bytes_read != sizeof(test_data)) {
		LOG_ERR("short read %s: %d/%u", LITTLEFS_TEST_FILE,
			(int)bytes_read, (uint32_t)sizeof(test_data));
		ret = -EIO;
	} else if (memcmp(test_data, read_buf, sizeof(test_data)) != 0) {
		LOG_ERR("verify %s failed", LITTLEFS_TEST_FILE);
		ret = -EIO;
	} else {
		ret = 0;
	}

	(void)fs_close(&file);
	return ret;
}

int littlefs_test(void)
{
	struct fs_statvfs stat;
	int ret;

	ret = fs_mount(&littlefs_mnt);
	if (ret != 0) {
		LOG_ERR("mount %s failed: %d", LITTLEFS_MOUNT_POINT, ret);
		return ret;
	}

	LOG_INF("mounted %s on qspi littlefs partition", LITTLEFS_MOUNT_POINT);

	ret = write_test_file();
	if (ret != 0) {
		goto out;
	}

	ret = read_test_file();
	if (ret != 0) {
		goto out;
	}

	ret = fs_statvfs(LITTLEFS_MOUNT_POINT, &stat);
	if (ret == 0) {
		LOG_INF("littlefs space: block size %lu, total %lu, free %lu",
			(unsigned long)stat.f_bsize,
			(unsigned long)stat.f_blocks,
			(unsigned long)stat.f_bfree);
	} else {
		LOG_WRN("statvfs %s failed: %d", LITTLEFS_MOUNT_POINT, ret);
	}

	LOG_INF("littlefs test OK: %s", LITTLEFS_TEST_FILE);

out:
	(void)fs_unmount(&littlefs_mnt);
	return ret;
}
```

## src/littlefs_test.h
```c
#ifndef LITTLEFS_TEST_H_
#define LITTLEFS_TEST_H_

int littlefs_test(void);

#endif /* LITTLEFS_TEST_H_ */
```

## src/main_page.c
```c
#include <lvgl.h>
#include <zephyr/kernel.h>
#include <zephyr/devicetree.h>
#include <zephyr/device.h>
#include <zephyr/sys/util.h>
#include <zephyr/drivers/display.h>
#include <zephyr/drivers/sensor.h>

#include <math.h>
#include <stdio.h>

#include "battery.h"
#include "gnss.h"

#define LVGL_STACK_SIZE 2048
#define LVGL_PRIORITY 5
K_THREAD_STACK_DEFINE(lvgl_stack_area, LVGL_STACK_SIZE);
struct k_thread lvgl_thread_data;
k_tid_t lvgl_tid;
struct k_mutex lvgl_mutex;
extern struct device* display_dev;
extern struct device* pressure_dev;
struct lv_objs{
		lv_obj_t* bat;
		lv_obj_t* prs;
		lv_obj_t* tmp;
		lv_obj_t* alt;
		lv_obj_t* gnss;
};

static const char *hdop_grade(uint16_t hdop_x10)
{
	if (hdop_x10 == 0U) {
		return "--";
	}
	if (hdop_x10 < 10U) {
		return "Exce";
	}
	if (hdop_x10 < 20U) {
		return "Good";
	}
	if (hdop_x10 < 50U) {
		return "Fair";
	}
	return "Poor";
}

void info_update(lv_timer_t * timer)
{
	struct lv_objs* objs = timer->user_data;
	struct gnss_data gnss;
	bool has_fix;
	int32_t bat_level = battery_get_mv();
	struct sensor_value pressure;
	struct sensor_value temperature;
	int altitude;
	uint8_t bat_buf[8];
	uint8_t prs_buf[20];
	uint8_t tmp_buf[18];
	uint8_t alt_buf[20];
	const char *hdop_text;
	char gnss_buf[160];
	uint16_t hdop_x10 = 0U;
	uint16_t speed_kmh_x10 = 0U;
	uint16_t course_deg_x10 = 0U;
	uint64_t latitude = 0ULL;
	uint64_t longitude = 0ULL;
	sprintf(bat_buf, "%4dmv", bat_level);
	sensor_sample_fetch(pressure_dev);
	sensor_channel_get(pressure_dev, SENSOR_CHAN_PRESS, &pressure);
	sensor_channel_get(pressure_dev, SENSOR_CHAN_AMBIENT_TEMP, &temperature);
	altitude = 443300 * (1 - pow((pressure.val1+pressure.val1/1000000.0)/101325.0, 1/5.255));
	
	sprintf(prs_buf, "%6d.%01dPa", pressure.val1, pressure.val2/100000);
	sprintf(tmp_buf, "%2d.%02dC", temperature.val1, temperature.val2/10000);
	sprintf(alt_buf, "%4d.%01dm", altitude/10, altitude%10);
	has_fix = gnss_get_info(&gnss) &&
		  gnss.info.fix_status != GNSS_FIX_STATUS_NO_FIX;
	if (has_fix) {
		hdop_x10 = (uint16_t)(gnss.info.hdop / 100U);
		speed_kmh_x10 = (uint16_t)((gnss.nav_data.speed * 36ULL) / 1000ULL);
		course_deg_x10 = (uint16_t)(gnss.nav_data.bearing / 100U);
		latitude = gnss.nav_data.latitude < 0 ? -gnss.nav_data.latitude :
			   gnss.nav_data.latitude;
		longitude = gnss.nav_data.longitude < 0 ? -gnss.nav_data.longitude :
			    gnss.nav_data.longitude;
	}
	hdop_text = hdop_grade(hdop_x10);

	if (has_fix) {
		snprintf(gnss_buf, sizeof(gnss_buf),
			 "Lat:%llu.%06llu%s\nLon:%llu.%06llu%s\nHDOP:%u.%u %s\nQ:%u\nSat:%u\nSpd:%u.%u km/h\nCog:%u.%u deg",
			 latitude / 1000000000ULL,
			 (latitude % 1000000000ULL) / 1000ULL,
			 gnss.nav_data.latitude < 0 ? "S" : "N",
			 longitude / 1000000000ULL,
			 (longitude % 1000000000ULL) / 1000ULL,
			 gnss.nav_data.longitude < 0 ? "W" : "E",
			 hdop_x10 / 10U, hdop_x10 % 10U, hdop_text,
			 gnss.info.fix_quality,
			 gnss.info.satellites_cnt,
			 speed_kmh_x10 / 10U, speed_kmh_x10 % 10U,
			 course_deg_x10 / 10U, course_deg_x10 % 10U);
	} else {
		snprintf(gnss_buf, sizeof(gnss_buf),
			 "Lat:--\nLon:--\nHDOP:%u.%u %s\nQ:%u\nSat:%u\nSpd:%u.%u km/h\nCog:%u.%u deg",
			 hdop_x10 / 10U, hdop_x10 % 10U, hdop_text,
			 0U, 0U, 0U, 0U, 0U, 0U);
	}

	k_mutex_lock(&lvgl_mutex, K_FOREVER);
	lv_label_set_text(objs->bat, bat_buf);
	lv_label_set_text(objs->prs, prs_buf);
	lv_label_set_text(objs->tmp, tmp_buf);
	lv_label_set_text(objs->alt, alt_buf);
	lv_label_set_text(objs->gnss, gnss_buf);

	k_mutex_unlock(&lvgl_mutex);
}

void lvgl_entry_point(void *, void *, void *)
{
	lv_obj_t * bat_label;
	lv_obj_t * prs_label;
	lv_obj_t * tmp_label;
	lv_obj_t * alt_label;
	lv_obj_t * gnss_label;
	lv_timer_t * info_update_timer;
	struct lv_objs main_page_objs;

	k_mutex_lock(&lvgl_mutex, K_FOREVER);
	bat_label = lv_label_create(lv_scr_act());
	lv_label_set_text(bat_label, "Bat:");
	lv_obj_align(bat_label, LV_ALIGN_TOP_LEFT, 0, 20);
	prs_label = lv_label_create(lv_scr_act());
	lv_label_set_text(prs_label, "Prs:");
	lv_obj_align(prs_label, LV_ALIGN_TOP_LEFT, 0, 36);
	tmp_label = lv_label_create(lv_scr_act());
	lv_label_set_text(tmp_label, "Temp:");
	lv_obj_align(tmp_label, LV_ALIGN_TOP_LEFT, 0, 52);
	alt_label = lv_label_create(lv_scr_act());
	lv_label_set_text(alt_label, "Altitude:");
	lv_obj_align(alt_label, LV_ALIGN_TOP_LEFT, 0, 68);
	gnss_label = lv_label_create(lv_scr_act());
	lv_label_set_text(gnss_label, "GNSS(WGS84):");
	lv_obj_align(gnss_label, LV_ALIGN_TOP_LEFT, 0, 84);

	main_page_objs.bat = lv_label_create(lv_scr_act());
	lv_label_set_text(main_page_objs.bat, "0000mv");
	lv_obj_align(main_page_objs.bat, LV_ALIGN_TOP_LEFT, 32, 20);
	main_page_objs.prs = lv_label_create(lv_scr_act());
	lv_label_set_text(main_page_objs.prs, "000000Pa");
	lv_obj_align(main_page_objs.prs, LV_ALIGN_TOP_LEFT, 32, 36);
	main_page_objs.tmp = lv_label_create(lv_scr_act());
	lv_label_set_text(main_page_objs.tmp, "00C");
	lv_obj_align(main_page_objs.tmp, LV_ALIGN_TOP_LEFT, 40, 52);
	main_page_objs.alt = lv_label_create(lv_scr_act());
	lv_label_set_text(main_page_objs.alt, "0000m");
	lv_obj_align(main_page_objs.alt, LV_ALIGN_TOP_LEFT, 72, 68);
	main_page_objs.gnss = lv_label_create(lv_scr_act());
	lv_label_set_long_mode(main_page_objs.gnss, LV_LABEL_LONG_WRAP);
	lv_obj_set_width(main_page_objs.gnss, 128);
	lv_label_set_text(main_page_objs.gnss, "Lat:--\nLon:--\nHDOP:0.0 --\nQ:0\nSat:0\nSpd:0.0 km/h\nCog:0.0 deg");
	lv_obj_align(main_page_objs.gnss, LV_ALIGN_TOP_LEFT, 0, 94);

	/*Create a buffer for the canvas*/
    #define CANVAS_WIDTH  128
	#define CANVAS_HEIGHT  16
	static lv_color_t cbuf[LV_CANVAS_BUF_SIZE_TRUE_COLOR(CANVAS_WIDTH, CANVAS_HEIGHT)];
    lv_obj_t * canvas = lv_canvas_create(lv_scr_act());
    lv_canvas_set_buffer(canvas, cbuf, CANVAS_WIDTH, CANVAS_HEIGHT, LV_IMG_CF_TRUE_COLOR);
    lv_obj_align(canvas, LV_ALIGN_TOP_MID, 0, 0);
    lv_canvas_fill_bg(canvas, lv_color_black(), LV_OPA_COVER);
	info_update_timer = lv_timer_create(info_update, 500, &main_page_objs);
	lv_timer_set_repeat_count(info_update_timer, -1);
	lv_timer_ready(info_update_timer);
	lv_task_handler();
	k_mutex_unlock(&lvgl_mutex);
	for(;;)
	{
		k_mutex_lock(&lvgl_mutex, K_FOREVER);
		lv_task_handler();
		lv_timer_handler();
        k_mutex_unlock(&lvgl_mutex);
		k_msleep(5);
	}
}

void main_page()
{
    k_mutex_init(&lvgl_mutex);
	lvgl_tid = k_thread_create(&lvgl_thread_data, lvgl_stack_area,
                                 K_THREAD_STACK_SIZEOF(lvgl_stack_area),
                                 lvgl_entry_point,
                                 NULL, NULL, NULL,
                                 LVGL_PRIORITY, 0, K_NO_WAIT);
	k_thread_name_set(lvgl_tid, "lvgl");
	display_blanking_off(display_dev);
}
```

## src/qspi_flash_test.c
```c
#include "qspi_flash_test.h"

#include <errno.h>
#include <string.h>

#include <zephyr/device.h>
#include <zephyr/devicetree.h>
#include <zephyr/kernel.h>
#include <zephyr/logging/log.h>
#include <zephyr/pm/device.h>
#include <zephyr/storage/flash_map.h>
#include <zephyr/sys/util.h>

LOG_MODULE_REGISTER(qspi_flash_test, LOG_LEVEL_INF);

#define QSPI_FLASH_NODE DT_NODELABEL(gd25q256)
#define TEST_ERASE_SIZE 4096

static int test_flash_area(uint8_t id, uint8_t pattern)
{
	const struct flash_area *fa;
	uint8_t write_buf[32] __aligned(4);
	uint8_t read_buf[sizeof(write_buf)] __aligned(4);
	int ret;

	ret = flash_area_open(id, &fa);
	if (ret != 0) {
		LOG_ERR("open flash area %u failed: %d", id, ret);
		return ret;
	}

	for (size_t i = 0; i < sizeof(write_buf); i++) {
		write_buf[i] = (uint8_t)(pattern ^ i);
	}

	ret = flash_area_erase(fa, 0, TEST_ERASE_SIZE);
	if (ret != 0) {
		LOG_ERR("erase failed: %d", ret);
		goto out;
	}

	ret = flash_area_write(fa, 0, write_buf, sizeof(write_buf));
	if (ret != 0) {
		LOG_ERR("write failed: %d", ret);
		goto out;
	}

	memset(read_buf, 0, sizeof(read_buf));
	ret = flash_area_read(fa, 0, read_buf, sizeof(read_buf));
	if (ret != 0) {
		LOG_ERR("read failed: %d", ret);
		goto out;
	}

	if (memcmp(write_buf, read_buf, sizeof(write_buf)) != 0) {
		LOG_ERR("verify failed");
		ret = -EIO;
		goto out;
	}

	LOG_INF("QSPI flash test OK: %u bytes at %s+0x%08x",
		(uint32_t)sizeof(write_buf), fa->fa_dev->name, (uint32_t)fa->fa_off);

out:
	flash_area_close(fa);
	return ret;
}

int qspi_flash_test(void)
{
	const struct device *dev = DEVICE_DT_GET(QSPI_FLASH_NODE);
	int ret;

	if (!device_is_ready(dev)) {
		LOG_ERR("%s is not ready", dev->name);
		return -ENODEV;
	}

	ret = test_flash_area(FIXED_PARTITION_ID(qspi_test_partition), 0x5a);
	if (ret != 0) {
		return ret;
	}

	ret = test_flash_area(FIXED_PARTITION_ID(qspi_test_high_partition), 0xa5);
	if (ret != 0) {
		return ret;
	}

	ret = pm_device_action_run(dev, PM_DEVICE_ACTION_SUSPEND);
	if (ret != 0) {
		LOG_ERR("enter DPD failed: %d", ret);
		return ret;
	}

	LOG_INF("QSPI flash entered DPD");
	k_sleep(K_MSEC(10));

	ret = pm_device_action_run(dev, PM_DEVICE_ACTION_RESUME);
	if (ret != 0) {
		LOG_ERR("exit DPD failed: %d", ret);
		return ret;
	}

	ret = test_flash_area(FIXED_PARTITION_ID(qspi_test_high_partition), 0xc3);
	if (ret != 0) {
		return ret;
	}
	LOG_INF("QSPI flash DPD wakeup OK");

	return 0;
}
```

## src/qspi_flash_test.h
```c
#ifndef QSPI_FLASH_TEST_H_
#define QSPI_FLASH_TEST_H_

int qspi_flash_test(void);

#endif /* QSPI_FLASH_TEST_H_ */
```
